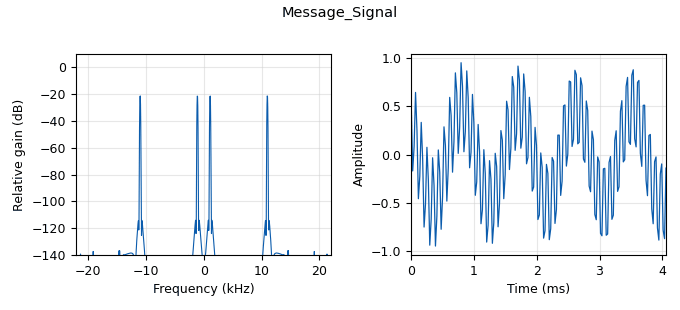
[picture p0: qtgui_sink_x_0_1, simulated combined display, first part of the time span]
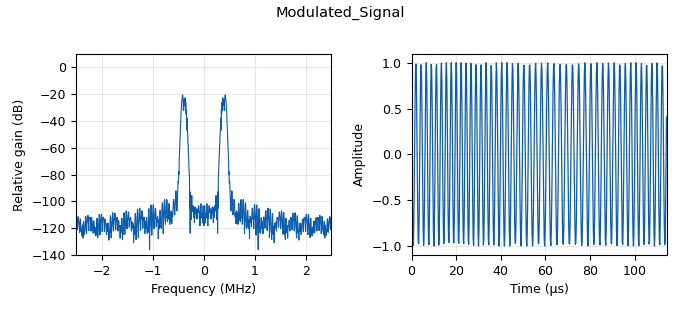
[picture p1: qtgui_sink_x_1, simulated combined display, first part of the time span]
options:
  parameters:
    author: anupam
    generate_options: qt_gui
    id: Q1
    output_language: python
    title: Not titled yet
  states: {}

blocks:
- name: audio_rate
  id: variable
  parameters:
    value: '44100'
  states: {}
- name: sample_rate
  id: variable
  parameters:
    value: '5000000'
  states: {}
- name: analog_phase_modulator_fc_0
  id: analog_phase_modulator_fc
  parameters:
    sensitivity: 75000 * 2 * 3.141
  states: {}
- name: analog_sig_source_x_0
  id: analog_sig_source_x
  parameters:
    amp: '0.5'
    freq: '1100'
    offset: '0'
    phase: '0'
    samp_rate: audio_rate
    type: float
    waveform: analog.GR_COS_WAVE
  states: {}
- name: analog_sig_source_x_0_0
  id: analog_sig_source_x
  parameters:
    amp: '0.5'
    freq: '11000'
    offset: '0'
    phase: '0'
    samp_rate: audio_rate
    type: float
    waveform: analog.GR_COS_WAVE
  states: {}
- name: analog_sig_source_x_1
  id: analog_sig_source_x
  parameters:
    amp: '1'
    freq: '400000'
    offset: '0'
    phase: '0'
    samp_rate: sample_rate
    type: complex
    waveform: analog.GR_COS_WAVE
  states: {}
- name: blocks_add_xx_0
  id: blocks_add_xx
  parameters:
    type: float
  states: {}
- name: blocks_complex_to_real_0
  id: blocks_complex_to_real
  parameters: {}
  states: {}
- name: blocks_multiply_xx_0
  id: blocks_multiply_xx
  parameters:
    type: complex
  states: {}
- name: iir_filter_xxx_0
  id: iir_filter_xxx
  parameters:
    fbtaps: '[1,1]'
    fftaps: '[1/audio_rate]'
    type: ffd
  states: {}
- name: qtgui_sink_x_0_1
  id: qtgui_sink_x
  parameters:
    alias: Message_Signal
    bw: audio_rate
    fc: '0'
    fftsize: '1024'
    name: Message_Signal
    type: float
  states: {}
- name: qtgui_sink_x_1
  id: qtgui_sink_x
  parameters:
    alias: Modulated_Signal
    bw: sample_rate
    fc: '0'
    fftsize: '1024'
    name: Modulated_Signal
    type: float
  states: {}
- name: rational_resampler_xxx_0
  id: rational_resampler_xxx
  parameters:
    decim: audio_rate
    interp: sample_rate
    type: fff
  states: {}

connections:
- [analog_phase_modulator_fc_0, '0', blocks_multiply_xx_0, '0']
- [analog_sig_source_x_0, '0', blocks_add_xx_0, '0']
- [analog_sig_source_x_0_0, '0', blocks_add_xx_0, '1']
- [analog_sig_source_x_1, '0', blocks_multiply_xx_0, '1']
- [blocks_add_xx_0, '0', iir_filter_xxx_0, '0']
- [blocks_add_xx_0, '0', qtgui_sink_x_0_1, '0']
- [blocks_complex_to_real_0, '0', qtgui_sink_x_1, '0']
- [blocks_multiply_xx_0, '0', blocks_complex_to_real_0, '0']
- [iir_filter_xxx_0, '0', rational_resampler_xxx_0, '0']
- [rational_resampler_xxx_0, '0', analog_phase_modulator_fc_0, '0']

metadata:
  file_format: 1
  grc_version: 3.10.7.0
